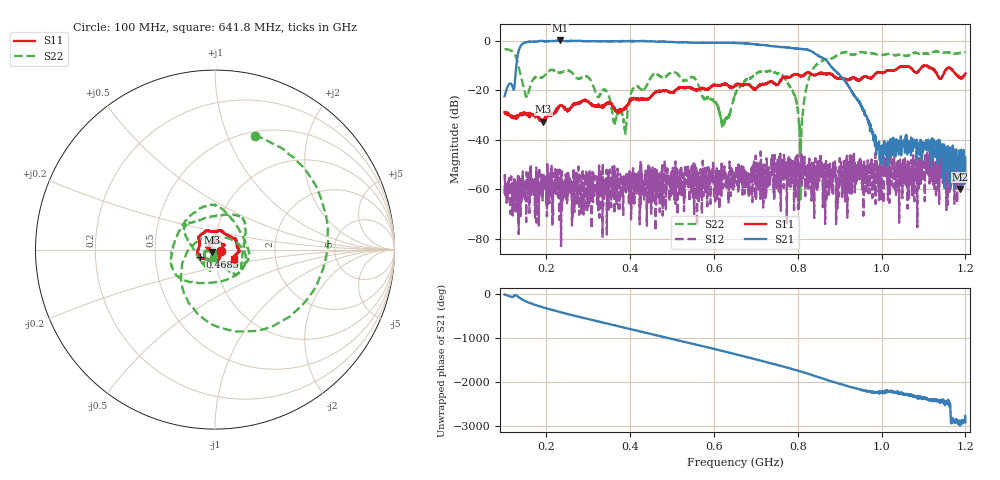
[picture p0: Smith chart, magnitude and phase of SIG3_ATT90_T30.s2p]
# Hz S DB R 50
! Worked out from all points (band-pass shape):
!   1601 points, 100 MHz to 1.2 GHz, reference 50 ohm
!   highest |S21| = 0.17 dB at 232 MHz (marker M1); lowest = -59.8 dB at 1.188 GHz (marker M2)
!   |S21| within 3 dB of the highest: 136.1 MHz to 781.3 MHz (645.2 MHz wide, 141 % of centre); 781.3736 MHz to 782.9984 MHz (1.625 MHz wide, 0.208 % of centre)
!   lowest |S11| = -32.7 dB at 192.1 MHz (marker M3), VSWR 1.05, Z = 48.2 - j1.4 ohm
!   |S11| at or under -10 dB: start of sweep to 1.1 GHz; 1.103612 GHz to 1.105667 GHz (2.055 MHz wide, 0.186 % of centre); 1.106 GHz to end of sweep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
!   |S22| runs from -64.1 to -3.4 dB; largest |S21 - S12| = 1
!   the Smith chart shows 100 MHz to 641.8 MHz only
!   S11 on the Smith chart (normalised r, x): 100 MHz: 1.07, -0.02; 468.5 MHz: 0.84, -0.07; 641.8 MHz: 1.23, -0.13
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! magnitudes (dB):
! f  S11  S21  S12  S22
! 100 MHz  -28.8  -22.4  -61.9  -3.5
! 124.8 MHz  -31.1  -16.2  -56.9  -5.4
! 135.8 MHz  -29.9  -2.9  -56.5  -12.1
! 151.6 MHz  -29.4  -0.6  -73.2  -22.3
! 192.1 MHz  -32.7  0.0  -58.7  -14.5
! 232 MHz  -26.2  0.2  -61.4  -12.9
! 283.6 MHz  -24.5  -0.1  -57.1  -15.0
! 387.4 MHz  -27.3  -0.1  -56.8  -36.2
! 407.3 MHz  -23.1  -0.1  -54.2  -19.2
! 467.1 MHz  -20.6  -0.3  -63.3  -13.8
! 468.5 MHz  -20.5  -0.3  -53.9  -14.0
! 551.7 MHz  -19.7  -0.8  -54.6  -14.8
! 621.8 MHz  -17.6  -0.8  -59.4  -34.5
! 641.8 MHz  -18.5  -0.8  -51.5  -26.9
! 650 MHz  -18.3  -0.8  -53.5  -21.5
! 757.9 MHz  -16.3  -2.5  -45.6  -13.4
! 790.9 MHz  -13.7  -3.0  -68.4  -21.4
! 806.8 MHz  -14.5  -3.2  -52.4  -64.1
! 833.6 MHz  -13.5  -4.3  -49.2  -12.1
! 1.017 GHz  -12.1  -41.4  -50.8  -5.3
! 1.188 GHz  -15.0  -59.8  -49.4  -4.8
! 1.2 GHz  -13.2  -47.2  -54.1  -4.5
